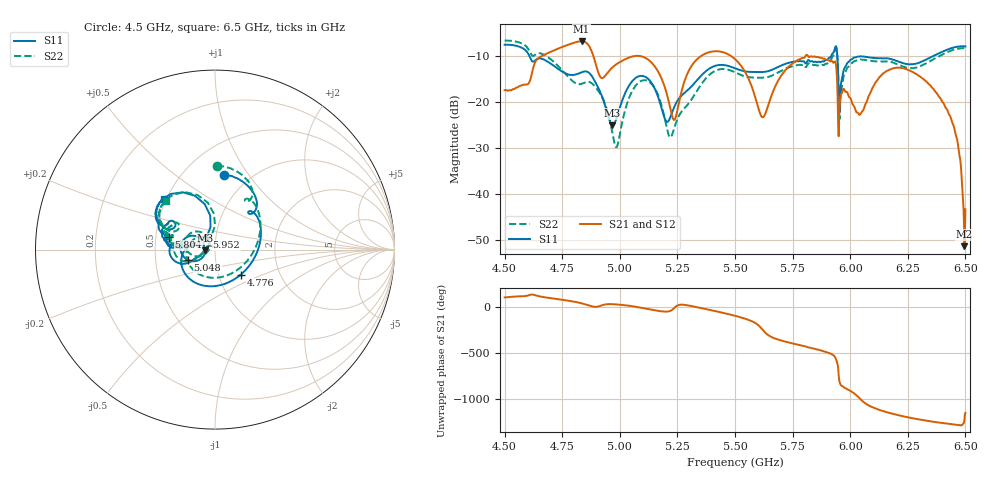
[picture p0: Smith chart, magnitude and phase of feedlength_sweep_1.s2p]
! TOUCHSTONE file generated by CST MICROWAVE STUDIO
! Date and time: Fri Nov 29 14:48:25 2024
! Project name: dual_circularly_polarized_waveguide_antenna.cst
! Parameters = {airCoaxOuterDiameter=3; chamferAngle=45; chamferWidth=24; connectorLength=10; drillingHoleDiameter=4.1; feedLength=30; flareDiameter=130; flareLength=70; gratingDistance=0; gratingGap=1.90274; outletLength=60; polarizerLength=134; probe1Diameter=1.3; probe1Distance=14.068; probe1Leng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
! Header version: 2018
! Port assignment regex: !\s*Touchstone port\s*([0-9]+)\s*=\s*(CST MWS port|CST DS port)\s*([0-9]+|Zmin|Zmax)\s*\(\"(.*)\"\)(\s*mode\s*([0-9]+))?.*
! Touchstone port assignment:
! Touchstone port 1 = CST MWS port 1 ("Input1")
! Touchstone port 2 = CST MWS port 2 ("Input2")
# GHz S MA R 50
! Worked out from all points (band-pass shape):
!   1001 points, 4.5 GHz to 6.5 GHz, reference 50 ohm
!   highest |S21| = -6.76 dB at 4.834 GHz (marker M1); lowest = -51.3 dB at 6.496 GHz (marker M2)
!   |S21| within 3 dB of the highest: 4.67 GHz to 4.884 GHz (213.3 MHz wide, 4.46 % of centre); 5.36 GHz to 5.476 GHz (116.1 MHz wide, 2.14 % of centre)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
!   lowest |S11| = -25.1 dB at 4.968 GHz (marker M3), VSWR 1.12, Z = 44.7 - j0.298 ohm
!   |S11| at or under -10 dB: 4.608 GHz to 5.917 GHz (1.309 GHz wide, 24.9 % of centre); 5.944 GHz to 6.36 GHz (415.6 MHz wide, 6.75 % of centre)
!   |S22| runs from -29.8 to -6.6 dB; largest |S21 - S12| = 1.1e-06
!   S11 on the Smith chart (normalised r, x): 4.5 GHz: 0.77, +0.78; 4.776 GHz: 1.28, -0.37; 5.048 GHz: 0.73, -0.09; 5.804 GHz: 0.59, +0.09; 5.952 GHz: 0.90, +0.13; 6.5 GHz: 0.48, +0.33
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4.5  0.4202 83.0  0.1346 108.6  0.1346 108.6  0.4662 88.7
4.776  0.2002 -44.1  0.4206 73.7  0.4206 73.7  0.1885 -20.5
4.834  0.211 -109.0  0.4593 45.0  0.4593 45.0  0.1581 -97.8
4.914  0.1303 165.6  0.1902 15.4  0.1902 15.4  0.1247 148.9
4.968  0.05576 -176.6  0.2388 35.3  0.2388 35.3  0.04588 131.5
4.99  0.0723 -150.8  0.263 31.8  0.263 31.8  0.03394 178.9
5.048  0.1617 -159.1  0.3101 15.4  0.3101 15.4  0.1234 -164.2
5.168  0.1105 143.3  0.211 -38.0  0.211 -38.0  0.1159 126.7
5.236  0.08805 -157.9  0.06397 -7.3  0.06397 -7.3  0.05174 -173.3
5.334  0.1718 -153.9  0.2904 3.0  0.2904 3.0  0.1314 -152.7
5.5  0.2334 171.4  0.2934 -91.2  0.2934 -91.2  0.211 167.5
5.62  0.2124 174.0  0.06848 116.3  0.06848 116.3  0.1843 171.2
5.804  0.2669 164.5  0.3116 -63.8  0.3116 -63.8  0.2438 163.6
5.834  0.279 163.4  0.3124 -85.1  0.3124 -85.1  0.2572 162.3
5.93  0.3569 154.3  0.2705 -167.6  0.2705 -167.6  0.3333 153.6
5.952  0.08491 122.9  0.06632 -70.5  0.06632 -70.5  0.08113 102.9
6.046  0.3151 158.9  0.07535 75.7  0.07535 75.7  0.2907 158.9
6.168  0.297 147.9  0.2239 -70.1  0.2239 -70.1  0.2755 147.4
6.414  0.3643 151.7  0.08744 174.1  0.08744 174.1  0.341 153.0
6.468  0.4015 142.0  0.03403 154.3  0.03403 154.3  0.381 142.9
6.496  0.405 136.1  0.002716 -143.2  0.002715 -143.2  0.386 136.6
6.5  0.403 135.3  0.00684 -71.0  0.006841 -71.0  0.3841 135.7
